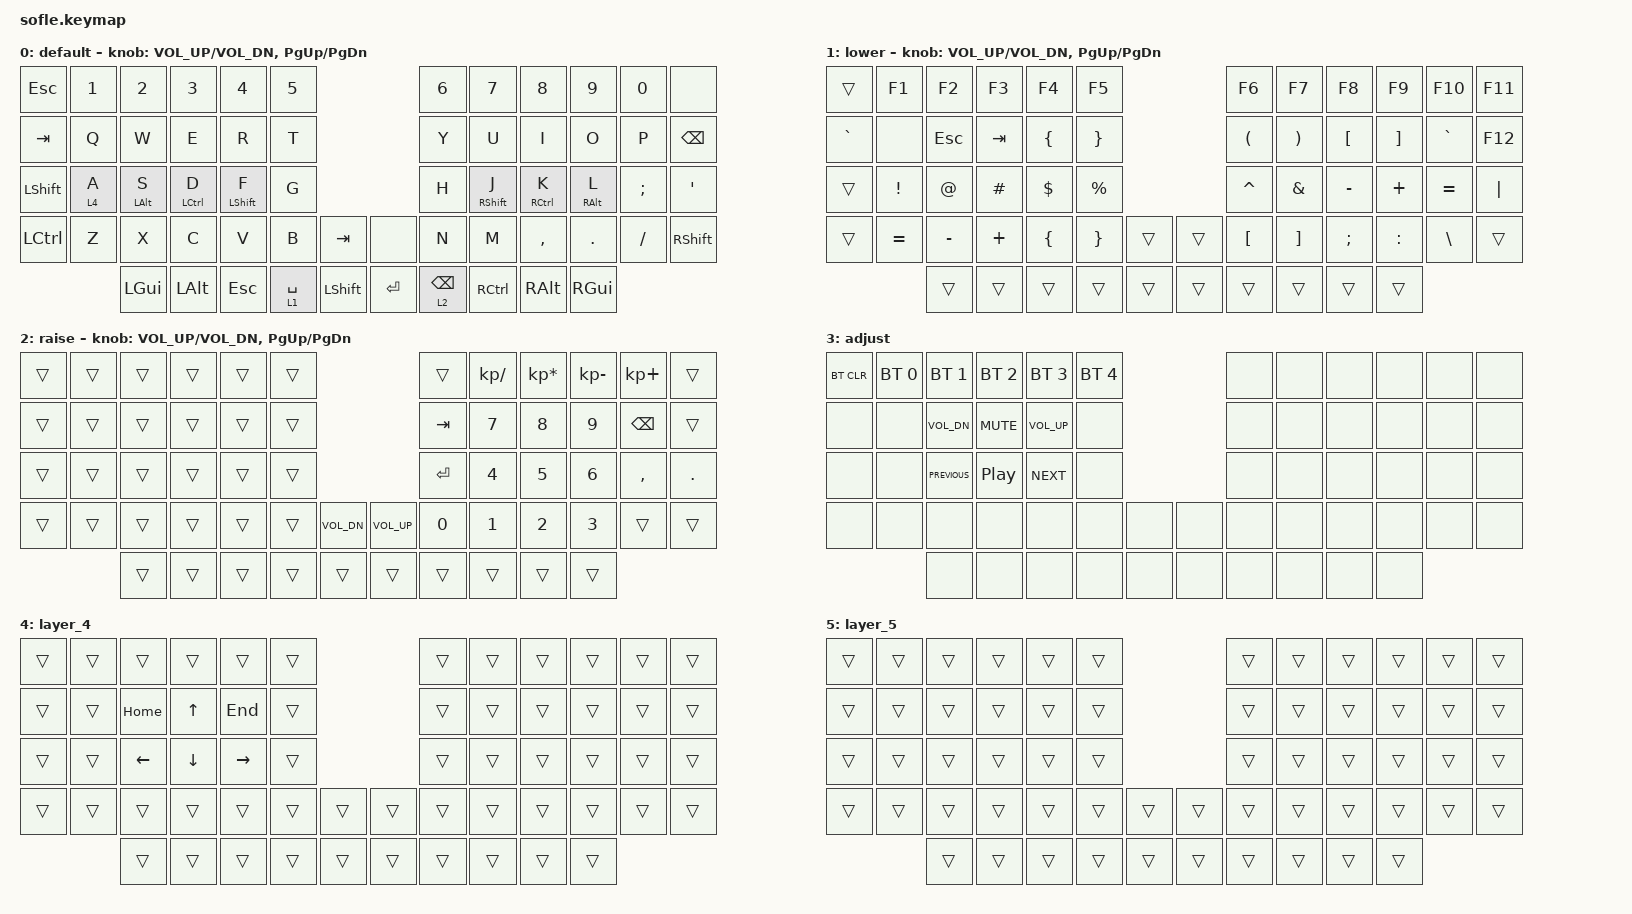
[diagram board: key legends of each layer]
/*
 * Copyright (c) 2020 The ZMK Contributors
 *
 * SPDX-License-Identifier: MIT
 */

#include <behaviors.dtsi>
#include <dt-bindings/zmk/bt.h>
#include <dt-bindings/zmk/keys.h>

#define BASE 0
#define LOWER 1
#define RAISE 2
#define ADJUST 3

/ {
    // Activate ADJUST layer by pressing raise and lower

    behaviors {
        hml: home_row_mod_left {
            compatible = "zmk,behavior-hold-tap";
            #binding-cells = <2>;
            flavor = "balanced";
            require-prior-idle-ms = <150>;
            tapping-term-ms = <280>;
            quick-tap-ms = <175>;
            bindings = <&kp>, <&kp>;

            hold-trigger-key-positions = <26 27 28>; // List of keys on the right side of the keyboard
            hold-trigger-on-release;
        };

        hmr: home_row_mod_right {
            compatible = "zmk,behavior-hold-tap";
            #binding-cells = <2>;
            flavor = "balanced";
            require-prior-idle-ms = <150>;
            tapping-term-ms = <280>;
            quick-tap-ms = <175>;
            bindings = <&kp>, <&kp>;

            hold-trigger-key-positions = <31 32 33>; // List of keys on the left side of the keyboard
            hold-trigger-on-release;
        };
    };

    conditional_layers {
        compatible = "zmk,conditional-layers";

        adjust_layer {
            if-layers = <1 2>;
            then-layer = <3>;
        };
    };

    keymap {
        compatible = "zmk,keymap";

        default_layer {
            display-name = "default";

            // ------------------------------------------------------------------------------------------------------------
            // |   `   |  1  |  2  |  3   |  4   |  5   |                   |  6   |  7    |  8    |  9   |   0   |       |
            // |  ESC  |  Q  |  W  |  E   |  R   |  T   |                   |  Y   |  U    |  I    |  O   |   P   | BKSPC |
            // |  TAB  |  A  |  S  |  D   |  F   |  G   |                   |  H   |  J    |  K    |  L   |   ;   |   '   |
            // | SHIFT |  Z  |  X  |  C   |  V   |  B   |  MUTE  |  |       |  N   |  M    |  ,    |  .   |   /   | SHIFT |
            //               | GUI | ALT  | CTRL | LOWER|  ENTER |  | SPACE | RAISE| CTRL  | ALT   | GUI  |

            bindings = <
&kp ESCAPE        &kp N1   &kp N2           &kp N3        &kp N4             &kp N5                                    &kp N6           &kp N7              &kp N8        &kp N9            &kp N0    &none
&kp TAB           &kp Q    &kp W            &kp E         &kp R              &kp T                                     &kp Y            &kp U               &kp I         &kp O             &kp P     &kp BSPC
&kp LEFT_SHIFT    &lt 4 A  &hml LEFT_ALT S  &hml LCTRL D  &hml LEFT_SHIFT F  &kp G                                     &kp H            &hmr RIGHT_SHIFT J  &hmr RCTRL K  &hmr RIGHT_ALT L  &kp SEMI  &kp SQT
&kp LEFT_CONTROL  &kp Z    &kp X            &kp C         &kp V              &kp B        &kp TAB           &none      &kp N            &kp M               &kp COMMA     &kp DOT           &kp FSLH  &kp RSHFT
                           &kp LGUI         &kp LALT      &kp ESCAPE         &lt 1 SPACE  &kp LEFT_SHIFT    &kp ENTER  &lt 2 BACKSPACE  &kp RCTRL           &kp RALT      &kp RGUI
            >;

            sensor-bindings = <&inc_dec_kp C_VOL_UP C_VOL_DN &inc_dec_kp PG_UP PG_DN>;
        };

        lower_layer {
            display-name = "lower";

            // TODO: Some binds are waiting for shifted keycode support.
            // ------------------------------------------------------------------------------------------------------------
            // |       |  F1 |  F2 |  F3  |  F4  |  F5  |                   |  F6  |  F7   |  F8   |  F9  |  F10  |  F11  |
            // |   `   |  1  |  2  |  3   |  4   |  5   |                   |  6   |  7    |  8    |  9   |   0   |  F12  |
            // |       |  !  |  @  |  #   |  $   |  %   |                   |  ^   |  &    |  *    |  (   |   )   |   |   |
            // |       |  =  |  -  |  +   |  {   |  }   |        |  |       |  [   |  ]    |  ;    |  :   |   \   |       |
            //               |     |      |      |      |        |  |       |      |       |       |      |

            bindings = <
&trans     &kp F1     &kp F2       &kp F3    &kp F4          &kp F5                             &kp F6                &kp F7                 &kp F8            &kp F9             &kp F10    &kp F11
&kp GRAVE  &none      &kp ESCAPE   &kp TAB   &kp LEFT_BRACE  &kp RIGHT_BRACE                    &kp LEFT_PARENTHESIS  &kp RIGHT_PARENTHESIS  &kp LEFT_BRACKET  &kp RIGHT_BRACKET  &kp GRAVE  &kp F12
&trans     &kp EXCL   &kp AT_SIGN  &kp HASH  &kp DOLLAR      &kp PRCNT                          &kp CARET             &kp AMPS               &kp MINUS         &kp PLUS           &kp EQUAL  &kp PIPE
&trans     &kp EQUAL  &kp MINUS    &kp PLUS  &kp LBRC        &kp RBRC         &trans    &trans  &kp LBKT              &kp RBKT               &kp SEMI          &kp COLON          &kp BSLH   &trans
                      &trans       &trans    &trans          &trans           &trans    &trans  &trans                &trans                 &trans            &trans
            >;

            sensor-bindings = <&inc_dec_kp C_VOL_UP C_VOL_DN &inc_dec_kp PG_UP PG_DN>;
        };

        raise_layer {
            display-name = "raise";

            // ------------------------------------------------------------------------------------------------------------
            // | BTCLR | BT1  | BT2  |  BT3  |  BT4  |  BT5 |                |      |      |       |      |       |       |
            // |       | INS  | PSCR | GUI   |       |      |                | PGUP | HOME |   ^   | END  |       |       |
            // |       | ALT  | CTRL | SHIFT |       | CAPS |                | PGDN |   <- |   v   |  ->  |  DEL  | BKSPC |
            // |       | UNDO | CUT  | COPY  | PASTE |      |      |  |      |      |      |       |      |       |       |
            //                |      |       |       |      |      |  |      |      |      |       |      |

            bindings = <
&trans  &trans  &trans  &trans  &trans  &trans                                   &trans     &kp KP_DIVIDE  &kp KP_ASTERISK  &kp KP_SUBTRACT  &kp KP_PLUS    &trans
&trans  &trans  &trans  &trans  &trans  &trans                                   &kp TAB    &kp N7         &kp N8           &kp N9           &kp BACKSPACE  &trans
&trans  &trans  &trans  &trans  &trans  &trans                                   &kp ENTER  &kp NUMBER_4   &kp N5           &kp NUMBER_6     &kp COMMA      &kp DOT
&trans  &trans  &trans  &trans  &trans  &trans  &kp C_VOL_DN    &kp C_VOLUME_UP  &kp N0     &kp NUMBER_1   &kp NUMBER_2     &kp NUMBER_3     &trans         &trans
                &trans  &trans  &trans  &trans  &trans          &trans           &trans     &trans         &trans           &trans
            >;

            sensor-bindings = <&inc_dec_kp C_VOL_UP C_VOL_DN &inc_dec_kp PG_UP PG_DN>;
        };

        adjust_layer {
            // ----------------------------------------------------------------------------------------------------------------------------
            // | BTCLR  |  BT1    |  BT2    |   BT3   |   BT4   |   BT5   |                  |      |      |       |      |       |       |
            // | EXTPWR | RGB_HUD | RGB_HUI | RGB_SAD | RGB_SAI | RGB_EFF |                  |      |      |       |      |       |       |
            // |        | RGB_BRD | RGB_BRI |         |         |         |                  |      |      |       |      |       |       |
            // |        |         |         |         |         |         | RGB_TOG | |      |      |      |       |      |       |       |
            //                    |         |         |         |         |         | |      |      |      |       |      |

            display-name = "adjust";
            bindings = <
&bt BT_CLR  &bt BT_SEL 0  &bt BT_SEL 1    &bt BT_SEL 2      &bt BT_SEL 3     &bt BT_SEL 4                  &none  &none  &none  &none  &none  &none
&none       &none         &kp C_VOL_DN    &kp K_MUTE        &kp C_VOLUME_UP  &none                         &none  &none  &none  &none  &none  &none
&none       &none         &kp C_PREVIOUS  &kp C_PLAY_PAUSE  &kp C_NEXT       &none                         &none  &none  &none  &none  &none  &none
&none       &none         &none           &none             &none            &none         &none    &none  &none  &none  &none  &none  &none  &none
                          &none           &none             &none            &none         &none    &none  &none  &none  &none  &none
            >;
        };

        layer_4 {
            bindings = <
&trans  &trans  &trans    &trans        &trans           &trans                    &trans  &trans  &trans  &trans  &trans  &trans
&trans  &trans  &kp HOME  &kp UP_ARROW  &kp END          &trans                    &trans  &trans  &trans  &trans  &trans  &trans
&trans  &trans  &kp LEFT  &kp DOWN      &kp RIGHT_ARROW  &trans                    &trans  &trans  &trans  &trans  &trans  &trans
&trans  &trans  &trans    &trans        &trans           &trans  &trans    &trans  &trans  &trans  &trans  &trans  &trans  &trans
                &trans    &trans        &trans           &trans  &trans    &trans  &trans  &trans  &trans  &trans
            >;
        };

        layer_5 {
            bindings = <
&trans  &trans  &trans  &trans  &trans  &trans                    &trans  &trans  &trans  &trans  &trans  &trans
&trans  &trans  &trans  &trans  &trans  &trans                    &trans  &trans  &trans  &trans  &trans  &trans
&trans  &trans  &trans  &trans  &trans  &trans                    &trans  &trans  &trans  &trans  &trans  &trans
&trans  &trans  &trans  &trans  &trans  &trans  &trans    &trans  &trans  &trans  &trans  &trans  &trans  &trans
                &trans  &trans  &trans  &trans  &trans    &trans  &trans  &trans  &trans  &trans
            >;
        };
    };
};
